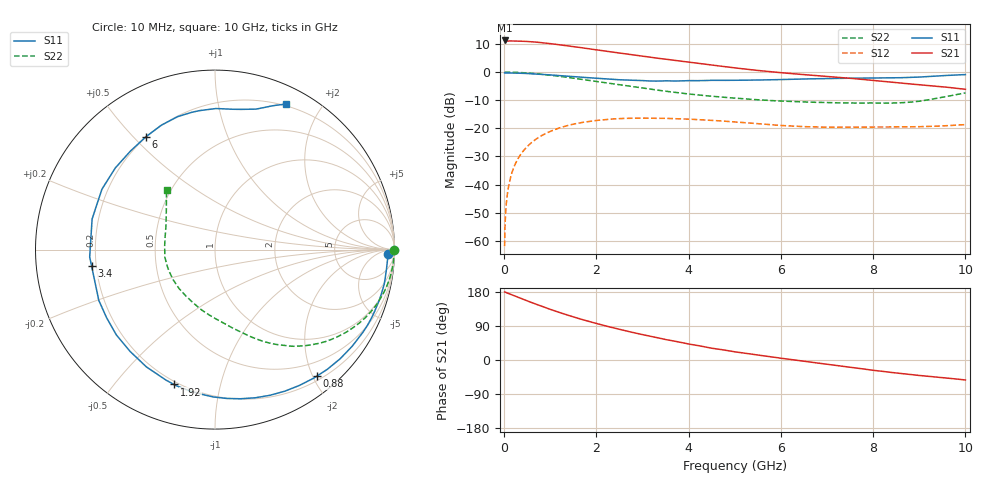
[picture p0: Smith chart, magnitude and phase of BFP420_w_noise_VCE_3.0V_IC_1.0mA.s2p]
! Infineon Technologies  Discrete & RF Semiconductors
! BFP420
! VCE =  3.0 V,  IC =  1.0 mA
! Common Emitter S-Parameters:  Jan 2016
# GHz  S  MA  R  50
!  f  S11  S21  S12  S22
! GHz  MAG  ANG  MAG  ANG  MAG  ANG  MAG  ANG
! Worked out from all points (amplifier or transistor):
!   233 points, 10 MHz to 10 GHz, reference 50 ohm
!   highest |S21| = 11.3 dB at 10 MHz (marker M1)
!   |S21| within 3 dB of that: start of sweep to 1.856 GHz
!   unconditionally stable (mu >= 1): 4.324 GHz to end of sweep
!   at 200 MHz: K = 0.02, MSG = 22.7 dB, |S12| = -34.3 dB
!   at 1.74 GHz: K = 0.28, MSG = 13.2 dB, |S12| = -17.8 dB
!   at 10 GHz: K = 1.36, MAG = 2.7 dB, |S12| = -18.7 dB
!   lowest NFmin = 0.53 dB at 900 MHz
!   S11 on the Smith chart (normalised r, x): 10 MHz: 37, -28; 880 MHz: 0.26, -2.05; 1.92 GHz: 0.18, -0.72; 3.4 GHz: 0.18, -0.06; 6 GHz: 0.20, +0.54; 10 GHz: 0.18, +1.59
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0.01  0.966 -1.5  3.654 179.4  0.0008 76.2  0.9981 -0.1
0.02  0.9631 -1.2  3.536 179.4  0.0019 91.5  0.9973 -0.6
0.025  0.9631 -1.4  3.539 179.1  0.0024 89.9  0.9973 -0.8
0.055  0.9633 -2.9  3.556 177.4  0.0054 86.9  0.9974 -1.7
0.11  0.9616 -6.6  3.582 174.8  0.0106 86.2  0.9964 -3.5
0.195  0.9621 -11.4  3.581 170.7  0.0188 83.0  0.9929 -6.2
0.48  0.9455 -28.1  3.513 157.1  0.0456 73.1  0.967 -15.1
0.7  0.9253 -41.1  3.411 146.8  0.0649 65.3  0.9352 -21.7
0.88  0.9047 -51.3  3.289 138.8  0.0792 59.1  0.9034 -26.8
1.2  0.8674 -69.4  3.064 125.3  0.1017 48.9  0.8405 -35.1
1.68  0.8106 -94.8  2.713 107.2  0.1266 34.9  0.7432 -45.9
1.92  0.7855 -106.9  2.545 99.0  0.1355 28.5  0.6967 -50.6
2.2  0.7572 -120.3  2.364 89.9  0.1433 21.7  0.6458 -55.5
2.6  0.7266 -139.2  2.127 77.9  0.1501 12.5  0.5775 -62.3
3  0.7065 -156.4  1.917 66.9  0.1521 4.5  0.5192 -68.3
3.4  0.6938 -172.6  1.734 56.8  0.1504 -2.4  0.4685 -74.4
4  0.7056 166.0  1.51 42.2  0.1457 -11.2  0.4079 -84.2
5.1  0.7172 138.7  1.163 20.0  0.1283 -22.4  0.3394 -104.2
6  0.7375 121.4  0.976 4.7  0.1123 -25.8  0.3054 -121.9
6.8  0.762 108.7  0.861 -8.1  0.1056 -24.9  0.2892 -139.4
8.4  0.7883 82.7  0.661 -32.9  0.1057 -23.5  0.2812 175.5
10  0.9028 63.9  0.494 -52.7  0.1163 -21.3  0.4266 129.3
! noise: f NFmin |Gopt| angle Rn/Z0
0.9  0.53  0.67  34  0.35
1.8  1.15  0.44  77  0.27
2.4  1.28  0.44  100  0.22
3  1.61  0.45  131  0.15
4  1.9  0.47  -177  0.09
5  2.32  0.44  -133  0.45
6  3.43  0.6  -118  0.25
